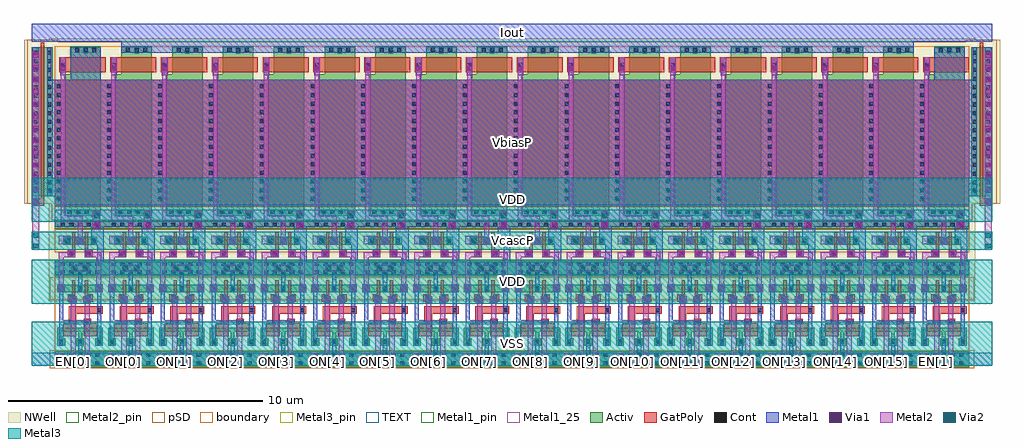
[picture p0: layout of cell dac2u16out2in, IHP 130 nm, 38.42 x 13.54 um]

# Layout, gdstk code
from math import pi, radians
import gdstk
lib = gdstk.Library(unit=1e-6, precision=1e-09)
def R(c, l, rs):  # rectangles x0, y0, x1, y1
    for r in rs: c.add(gdstk.rectangle(r[:2], r[2:], *l))
def A(c, l, x, y, w, h, nx, ny, dx, dy):  # array of equal rectangles
    R(c, l, [(x+i*dx, y+j*dy, x+i*dx+w, y+j*dy+h) for i in range(nx) for j in range(ny)])
Activ = (1, 0)
GatPoly = (5, 0)
Cont = (6, 0)
Metal1 = (8, 0)
Metal1_pin = (8, 2)
Metal1_25 = (8, 25)
Metal2 = (10, 0)
Metal2_pin = (10, 2)
pSD = (14, 0)
Via1 = (19, 0)
Via2 = (29, 0)
Metal3 = (30, 0)
Metal3_pin = (30, 2)
NWell = (31, 0)
TEXT = (63, 0)
boundary = (189, 4)

feol_contacts_3_1 = lib.new_cell('FEOL$contacts$3$1')
A(feol_contacts_3_1, Cont, 0.125, 0, 0.16, 0.16, 17, 1, 0.34, 0)
R(feol_contacts_3_1, Metal1, [(0,0,5.85,0.16)])

feol_contacts_8 = lib.new_cell('FEOL$contacts$8')
R(feol_contacts_8, Cont, [(0.05,0,0.21,0.16)])
R(feol_contacts_8, Metal1, [(0,0,0.26,0.16)])

via_stack_5 = lib.new_cell('via_stack$5')
R(via_stack_5, Metal2, [(-0.145,-0.35,0.145,0.35)])
R(via_stack_5, Via2, [(-0.095,-0.3,0.095,-0.11), (-0.095,0.11,0.095,0.3)])
R(via_stack_5, Metal3, [(-0.145,-0.35,0.145,0.35)])

via_stack_6 = lib.new_cell('via_stack$6')
R(via_stack_6, Metal1, [(-0.145,-3.025,0.145,3.025)])
R(via_stack_6, Metal2, [(-0.145,-3.025,0.145,3.025)])
A(via_stack_6, Via1, -0.095, -2.975, 0.19, 0.19, 1, 13, 0, 0.48)

cascodebias = lib.new_cell('CASCODEBIAS')
R(cascodebias, Activ, [(-1.9,1.76,-1.07,7.61)])
R(cascodebias, GatPoly, [(-1.9,1.38,-1.41,1.68), (-1.56,1.68,-1.41,7.79)])
R(cascodebias, Metal1, [(-1.3,1.76,-0.77,6.33)])
R(cascodebias, pSD, [(-2.08,1.46,-0.89,7.91)])
R(cascodebias, NWell, [(-2.21,1.45,-0.76,7.92)])
cascodebias.add(gdstk.FlexPath([(-1.75,7.61),(-1.75,1.4)], 0.29, ends="flush", simple_path=True, layer=8, datatype=0))  # Metal1
cascodebias.add(gdstk.FlexPath([(-1.75,1.61),(-1.75,1.96)], 0.16, ends="flush", simple_path=True, layer=8, datatype=0))  # Metal1
cascodebias.add(gdstk.FlexPath([(-1.75,1.93),(-1.75,0)], 0.29, ends="flush", simple_path=True, layer=10, datatype=0))  # Metal2
cascodebias.add(gdstk.Reference(feol_contacts_3_1, (-1.67,1.76), rotation=pi/2))
cascodebias.add(gdstk.Reference(feol_contacts_3_1, (-1.14,1.76), rotation=pi/2))
cascodebias.add(gdstk.Reference(feol_contacts_8, (-1.67,1.4), rotation=pi/2))
cascodebias.add(gdstk.Reference(via_stack_5, (-1.75,0)))
cascodebias.add(gdstk.Reference(via_stack_6, (-1.75,4.425)))

feol_contacts_4_1_1 = lib.new_cell('FEOL$contacts$4$1$1')
A(feol_contacts_4_1_1, Cont, 0.175, 0, 0.16, 0.16, 14, 1, 0.34, 0)
R(feol_contacts_4_1_1, Metal1, [(0,0,4.93,0.16)])

feol_contacts_7_1_1 = lib.new_cell('FEOL$contacts$7$1$1')
A(feol_contacts_7_1_1, Cont, 0.135, 0, 0.16, 0.16, 4, 1, 0.34, 0)
R(feol_contacts_7_1_1, Metal1, [(0,0,1.45,0.16)])

feol_contacts_5_1_1 = lib.new_cell('FEOL$contacts$5$1$1')
A(feol_contacts_5_1_1, Cont, 0.2, 0, 0.16, 0.16, 5, 1, 0.34, 0)
R(feol_contacts_5_1_1, Metal1, [(0,0,1.92,0.16)])

feol_contacts_6_1_1 = lib.new_cell('FEOL$contacts$6$1$1')
A(feol_contacts_6_1_1, Cont, 0.16, 0, 0.16, 0.16, 3, 1, 0.34, 0)
R(feol_contacts_6_1_1, Metal1, [(0,0,1.16,0.16)])

feol_contacts_1_2_1 = lib.new_cell('FEOL$contacts$1$2$1')
R(feol_contacts_1_2_1, Cont, [(0.18,0,0.34,0.16)])
R(feol_contacts_1_2_1, Metal1, [(0,0,0.52,0.16)])

pcsource2u = lib.new_cell('PCSOURCE2U')
R(pcsource2u, Activ, [(-1,-6.3,1,-6), (-0.63,-5.79,0.82,-0.22), (-0.38,-0.38,0.82,0.88)])
R(pcsource2u, GatPoly, [(-1,-5.45,1,-0.45), (-0.82,-0.15,1,0.45)])
R(pcsource2u, Metal1, [(-1,-6.23,1,-5.56), (-1,-5.38,1,-0.45), (-0.78,-0.265,-0.56,0.445), (-0.375,0.625,0.815,0.835)])
R(pcsource2u, Metal1_pin, [(-1,-6.23,1,-5.56), (-1,-5.38,1,-0.45)])
R(pcsource2u, Metal1_25, [(-0.375,0.625,0.815,0.835)])
R(pcsource2u, Metal2, [(-0.78,-0.145,-0.56,0.445)])
R(pcsource2u, Metal2_pin, [(-0.775,-0.145,-0.565,0.445)])
R(pcsource2u, pSD, [(-1.12,-5.97,1.12,1.06)])
R(pcsource2u, Via1, [(-0.765,-0.095,-0.575,0.095)])
R(pcsource2u, NWell, [(-1.24,-6.54,1.24,1.19)])
R(pcsource2u, TEXT, [(0.14,0.585,0.3,0.875), (0.125,0.635,0.315,0.825)])
R(pcsource2u, boundary, [(-1,-6.3,1,0.88)])
pcsource2u.add(gdstk.Reference(feol_contacts_4_1_1, (-0.77,-5.38), rotation=pi/2))
pcsource2u.add(gdstk.Reference(feol_contacts_7_1_1, (-0.63,-5.72)))
pcsource2u.add(gdstk.Reference(feol_contacts_5_1_1, (-0.96,-6.23)))
pcsource2u.add(gdstk.Reference(feol_contacts_6_1_1, (-0.36,0.65)))
pcsource2u.add(gdstk.Reference(feol_contacts_1_2_1, (-0.59,-0.11), rotation=pi/2))
pcsource2u.add(gdstk.Label('VbiasP', (0,-2.915), layer=8, texttype=25))
pcsource2u.add(gdstk.Label('VDD', (0,-5.895), layer=8, texttype=25))
pcsource2u.add(gdstk.Label('Iout', (0.22,0.73), layer=8, texttype=25))
pcsource2u.add(gdstk.Label('VcascodeP', (-0.67,0), layer=10, texttype=25))

feol_contacts_9_1 = lib.new_cell('FEOL$contacts$9$1')
R(feol_contacts_9_1, Cont, [(0.05,0,0.21,0.16)])
R(feol_contacts_9_1, Metal1, [(0,0,0.26,0.16)])

via_stack_2_1_1 = lib.new_cell('via_stack$2$1$1')
R(via_stack_2_1_1, Metal1, [(-0.145,-0.145,0.145,0.145)])
R(via_stack_2_1_1, Metal2, [(-0.145,-0.145,0.145,0.145)])
R(via_stack_2_1_1, Via1, [(-0.095,-0.095,0.095,0.095)])

via_stack_3_1 = lib.new_cell('via_stack$3$1')
R(via_stack_3_1, Metal1, [(-0.145,-0.145,0.145,0.145)])
R(via_stack_3_1, Metal2, [(-0.145,-0.145,0.145,0.145)])
R(via_stack_3_1, Via1, [(-0.095,-0.095,0.095,0.095)])
R(via_stack_3_1, Via2, [(-0.095,-0.095,0.095,0.095)])
R(via_stack_3_1, Metal3, [(-0.145,-0.145,0.145,0.145)])

dac_sw = lib.new_cell('DAC_SW')
R(dac_sw, Activ, [(-0.66,-0.15,0.66,0.15)])
R(dac_sw, GatPoly, [(-0.49,-0.65,-0.19,-0.35), (0.19,-0.65,0.49,-0.35), (-0.32,-0.375,-0.19,0.33), (0.19,-0.375,0.32,0.33)])
A(dac_sw, Cont, -0.59, -0.08, 0.16, 0.16, 3, 1, 0.51, 0)
A(dac_sw, Metal1, -0.59, -0.13, 0.16, 0.26, 3, 1, 0.51, 0)
R(dac_sw, Metal1, [(-0.49,-0.65,-0.19,-0.35), (0.19,-0.65,0.49,-0.35), (-0.66,-0.15,-0.36,0.15), (-0.15,-0.15,0.15,0.15)])
R(dac_sw, Metal2, [(-0.845,-0.145,-0.365,0.205)])
R(dac_sw, pSD, [(-1,-0.45,1,0.45)])
R(dac_sw, NWell, [(-1,-0.5,1,0.5)])
R(dac_sw, boundary, [(-1,-0.36,1,0.36)])
dac_sw.add(gdstk.FlexPath([(0.43,0),(0.8,0),(0.8,-0.985)], 0.26, ends="flush", simple_path=True, layer=8, datatype=0))  # Metal1
dac_sw.add(gdstk.FlexPath([(-0.745,-1.95),(-0.745,-0.545),(-0.24,-0.545)], 0.2, ends="flush", simple_path=True, layer=10, datatype=0))  # Metal2
dac_sw.add(gdstk.FlexPath([(0.74,-1.95),(0.74,-0.545),(0.24,-0.545)], 0.2, ends="flush", simple_path=True, layer=10, datatype=0))  # Metal2
dac_sw.add(gdstk.Reference(feol_contacts_9_1, (-0.26,-0.63), rotation=pi/2))
dac_sw.add(gdstk.Reference(feol_contacts_9_1, (0.42,-0.63), rotation=pi/2))
dac_sw.add(gdstk.Reference(via_stack_2_1_1, (-0.34,-0.5)))
dac_sw.add(gdstk.Reference(via_stack_3_1, (-0.51,0)))
dac_sw.add(gdstk.Reference(via_stack_2_1_1, (0.34,-0.5)))
dac_sw.add(gdstk.Reference(via_stack_2_1_1, (0,0)))

feol_contacts_3_2_1 = lib.new_cell('FEOL$contacts$3$2$1')
A(feol_contacts_3_2_1, Cont, 0.2, 0, 0.16, 0.16, 5, 2, 0.34, 0.34)
R(feol_contacts_3_2_1, Metal1, [(0,0,1.92,0.5)])

feol_contacts_1_1_1_1 = lib.new_cell('FEOL$contacts$1$1$1$1')
R(feol_contacts_1_1_1_1, Cont, [(0.05,0,0.21,0.16)])
R(feol_contacts_1_1_1_1, Metal1, [(0,0,0.26,0.16)])

via_stack_1_1_1_1 = lib.new_cell('via_stack$1$1$1$1')
R(via_stack_1_1_1_1, Metal1, [(-0.145,-0.145,0.145,0.145)])
R(via_stack_1_1_1_1, Metal2, [(-0.145,-0.145,0.145,0.145)])
R(via_stack_1_1_1_1, Via1, [(-0.095,-0.095,0.095,0.095)])

nonoverlap = lib.new_cell('NONOVERLAP')
A(nonoverlap, Activ, -0.895, -2.25, 0.3, 0.3, 3, 1, 0.745, 0)
R(nonoverlap, Activ, [(-1,-3.1,1,-2.46), (-0.895,-1.7,0.895,-1.55), (-0.895,-0.15,0.895,0.15), (-1,0.48,1,1.12)])
R(nonoverlap, GatPoly, [(-0.665,-1.88,-0.145,-1.37), (0.145,-1.88,0.665,-1.37), (0.145,-1.48,0.445,-1.18), (0.595,-1,0.895,-0.7), (-0.49,-0.52,-0.19,-0.22), (0.19,-0.52,0.49,-0.22), (-0.32,-0.33,-0.19,0.33), (0.19,-0.33,0.32,0.33)])
R(nonoverlap, Metal1, [(-1,-3.03,1,-2.53), (-1,0.55,1,1.05), (-1,0.55,1,1.05)])
R(nonoverlap, Metal1_pin, [(-1,-3.03,1,-2.53), (-1,0.55,1,1.05)])
R(nonoverlap, Metal2_pin, [(-0.42,-0.6,-0.13,-0.31), (0.13,-0.6,0.42,-0.31), (-0.89,-0.12,-0.6,0.17), (0.6,-0.12,0.89,0.17)])
R(nonoverlap, pSD, [(-1.195,-3.13,1.195,-2.43), (-1.195,-0.45,1.195,0.45)])
R(nonoverlap, NWell, [(-1.24,-0.505,1.24,1.44)])
R(nonoverlap, boundary, [(-1,-3.1,1,1.12)])
nonoverlap.add(gdstk.FlexPath([(0.38,-1.33),(-0.745,-1.33)], 0.16, ends="flush", simple_path=True, layer=8, datatype=0))  # Metal1
nonoverlap.add(gdstk.FlexPath([(-0.745,-2.02),(-0.745,-0.08)], 0.16, ends="flush", simple_path=True, layer=8, datatype=0))  # Metal1
nonoverlap.add(gdstk.FlexPath([(0.745,-2.02),(0.745,-0.08)], 0.16, ends="flush", simple_path=True, layer=8, datatype=0))  # Metal1
nonoverlap.add(gdstk.FlexPath([(0,-2.02),(0,-2.69)], 0.16, ends="flush", simple_path=True, layer=8, datatype=0))  # Metal1
nonoverlap.add(gdstk.FlexPath([(0,0.71),(0,-0.08)], 0.16, ends="flush", simple_path=True, layer=8, datatype=0))  # Metal1
nonoverlap.add(gdstk.FlexPath([(0,-1.63),(0,-2.18)], 0.15, ends="flush", simple_path=True, layer=1, datatype=0))  # Activ
nonoverlap.add(gdstk.FlexPath([(0.82,-1.635),(0.82,-2.18)], 0.15, ends="flush", simple_path=True, layer=1, datatype=0))  # Activ
nonoverlap.add(gdstk.FlexPath([(-0.82,-1.63),(-0.82,-2.18)], 0.15, ends="flush", simple_path=True, layer=1, datatype=0))  # Activ
nonoverlap.add(gdstk.FlexPath([(-0.295,-1.475),(-0.295,-0.85),(0.745,-0.85)], 0.3, ends="flush", simple_path=True, layer=5, datatype=0))  # GatPoly
nonoverlap.add(gdstk.Reference(feol_contacts_3_2_1, (-0.96,0.55)))
nonoverlap.add(gdstk.Reference(feol_contacts_1_1_1_1, (0.825,-0.13), rotation=pi/2))
nonoverlap.add(gdstk.Reference(feol_contacts_1_1_1_1, (0.08,-0.13), rotation=pi/2))
nonoverlap.add(gdstk.Reference(feol_contacts_1_1_1_1, (-0.665,-0.13), rotation=pi/2))
nonoverlap.add(gdstk.Reference(feol_contacts_1_1_1_1, (-0.26,-0.5), rotation=pi/2))
nonoverlap.add(gdstk.Reference(feol_contacts_1_1_1_1, (0.42,-0.5), rotation=pi/2))
nonoverlap.add(gdstk.Reference(feol_contacts_1_1_1_1, (-0.665,-2.23), rotation=pi/2))
nonoverlap.add(gdstk.Reference(feol_contacts_1_1_1_1, (0.165,-1.41)))
nonoverlap.add(gdstk.Reference(feol_contacts_1_1_1_1, (0.825,-2.23), rotation=pi/2))
nonoverlap.add(gdstk.Reference(feol_contacts_1_1_1_1, (0.08,-2.23), rotation=pi/2))
nonoverlap.add(gdstk.Reference(feol_contacts_3_2_1, (-0.96,-3.03)))
nonoverlap.add(gdstk.Reference(via_stack_1_1_1_1, (0.275,-0.455)))
nonoverlap.add(gdstk.Reference(via_stack_1_1_1_1, (-0.275,-0.455)))
nonoverlap.add(gdstk.Reference(via_stack_1_1_1_1, (0.745,0.025)))
nonoverlap.add(gdstk.Reference(via_stack_1_1_1_1, (-0.745,0.025)))
nonoverlap.add(gdstk.Reference(feol_contacts_1_1_1_1, (0.825,-0.98), rotation=pi/2))
nonoverlap.add(gdstk.Label('VSS', (0,-2.78), layer=8, texttype=25))
nonoverlap.add(gdstk.Label('VDD', (0,0.8), layer=8, texttype=25))
nonoverlap.add(gdstk.Label('OUTN', (-0.745,0.025), layer=10, texttype=25))
nonoverlap.add(gdstk.Label('INP', (-0.275,-0.455), layer=10, texttype=25))
nonoverlap.add(gdstk.Label('OUTP', (0.745,0.025), layer=10, texttype=25))
nonoverlap.add(gdstk.Label('INN', (0.275,-0.455), layer=10, texttype=25))

cascodedrive = lib.new_cell('CASCODEDRIVE')
cascodedrive.add(gdstk.Reference(dac_sw, (0,0)))
cascodedrive.add(gdstk.Reference(nonoverlap, (0,-1.88)))

via_stack_7 = lib.new_cell('via_stack$7')
R(via_stack_7, Metal1, [(-0.145,-0.35,0.145,0.35)])
R(via_stack_7, Metal2, [(-0.145,-0.35,0.145,0.35)])
R(via_stack_7, Via1, [(-0.095,-0.3,0.095,-0.11), (-0.095,0.11,0.095,0.3)])

via_stack_4 = lib.new_cell('via_stack$4')
R(via_stack_4, Metal1, [(-0.35,-0.145,0.35,0.145)])
R(via_stack_4, Metal2, [(-0.35,-0.145,0.35,0.145)])
R(via_stack_4, Via1, [(-0.3,-0.095,-0.11,0.095), (0.11,-0.095,0.3,0.095)])
R(via_stack_4, Via2, [(-0.3,-0.095,-0.11,0.095), (0.11,-0.095,0.3,0.095)])
R(via_stack_4, Metal3, [(-0.35,-0.145,0.35,0.145)])

via_stack_6_2 = lib.new_cell('via_stack$6$2')
R(via_stack_6_2, Metal2, [(-0.145,-0.145,0.145,0.145)])
R(via_stack_6_2, Via2, [(-0.095,-0.095,0.095,0.095)])
R(via_stack_6_2, Metal3, [(-0.145,-0.145,0.145,0.145)])

via_stack_9_1 = lib.new_cell('via_stack$9$1')
R(via_stack_9_1, Metal1, [(-0.145,-0.145,0.145,0.145)])
R(via_stack_9_1, Metal2, [(-0.145,-0.145,0.145,0.145)])
R(via_stack_9_1, Via1, [(-0.095,-0.095,0.095,0.095)])
R(via_stack_9_1, Via2, [(-0.095,-0.095,0.095,0.095)])
R(via_stack_9_1, Metal3, [(-0.145,-0.145,0.145,0.145)])

unitsource2u = lib.new_cell('unitsource2u')
R(unitsource2u, Metal1, [(0.43,-0.13,0.93,0.71)])
R(unitsource2u, Metal1_pin, [(-1,0.55,1,1.22), (-1,1.4,1,6.33), (-0.375,7.405,0.815,7.615)])
R(unitsource2u, Metal2, [(-0.92,-4.91,-0.63,-4.41)])
R(unitsource2u, Metal2_pin, [(-0.375,-4.91,-0.175,-4.62), (0.175,-4.91,0.375,-4.62)])
R(unitsource2u, Metal3, [(-1,-4.91,1,-3.18), (-1,-2.48,1,-0.75), (-1,0.75,1,2.48)])
R(unitsource2u, Metal3_pin, [(-1,-4.91,1,-3.18), (-1,-2.48,1,-0.75), (-1,-0.35,1,0.35), (-1,0.75,1,2.48)])
R(unitsource2u, NWell, [(-1.24,-2.385,1.24,7.97)])
unitsource2u.add(gdstk.FlexPath([(-0.275,-4.91),(-0.275,-2.19)], 0.2, ends="flush", simple_path=True, layer=10, datatype=0))  # Metal2
unitsource2u.add(gdstk.FlexPath([(0.275,-4.91),(0.275,-2.19)], 0.2, ends="flush", simple_path=True, layer=10, datatype=0))  # Metal2
unitsource2u.add(gdstk.FlexPath([(-0.67,6.685),(-0.67,0.885),(0,0.885),(0,0.095)], 0.2, ends="flush", simple_path=True, layer=10, datatype=0))  # Metal2
unitsource2u.add(gdstk.FlexPath([(-1,0),(1,0)], 0.7, ends="flush", simple_path=True, layer=30, datatype=0))  # Metal3
unitsource2u.add(gdstk.Reference(pcsource2u, (0,6.78)))
unitsource2u.add(gdstk.Reference(cascodedrive, (0,0)))
unitsource2u.add(gdstk.Reference(via_stack_7, (0.65,0.87)))
unitsource2u.add(gdstk.Reference(via_stack_4, (0,-1.08)))
unitsource2u.add(gdstk.Reference(via_stack_6_2, (0.65,0.985)))
unitsource2u.add(gdstk.Reference(via_stack_9_1, (-0.775,-4.66)))
unitsource2u.add(gdstk.Label('VDD', (0,1.615), layer=30, texttype=0))
unitsource2u.add(gdstk.Label('VbiasP', (0,3.865), layer=8, texttype=25))
unitsource2u.add(gdstk.Label('Iout', (0.22,7.51), layer=8, texttype=25))
unitsource2u.add(gdstk.Label('ON', (-0.275,-4.765), layer=10, texttype=25))
unitsource2u.add(gdstk.Label('ONB', (0.275,-4.765), layer=10, texttype=25))
unitsource2u.add(gdstk.Label('VSS', (0,-4.045), layer=30, texttype=25))
unitsource2u.add(gdstk.Label('VDD', (0,-1.615), layer=30, texttype=25))
unitsource2u.add(gdstk.Label('VcascP', (0,0), layer=30, texttype=25))

dac2u16out2in = lib.new_cell('dac2u16out2in')
R(dac2u16out2in, Metal1, [(-0.375,6.2,0.815,7.615), (33.625,6.2,34.815,7.615), (1.625,7.405,32.815,8.535)])
R(dac2u16out2in, Metal1_pin, [(-1,1.4,35,6.33), (-1.9,7.835,35.9,8.535)])
R(dac2u16out2in, Metal2_pin, [(-0.375,-4.91,-0.175,-4.62), (-0.375,-4.91,-0.175,-4.62), (0.175,-4.91,0.375,-4.62), (0.175,-4.91,0.375,-4.62), (1.625,-4.91,1.825,-4.62), (1.625,-4.91,1.825,-4.62), (2.175,-4.91,2.375,-4.62), (2.175,-4.91,2.375,-4.62), (3.625,-4.91,3.825,-4.62), (3.625,-4.91,3.825,-4.62), (4.175,-4.91,4.375,-4.62), (4.175,-4.91,4.375,-4.62), (5.625,-4.91,5.825,-4.62), (5.625,-4.91,5.825,-4.62), (6.175,-4.91,6.375,-4.62), (6.175,-4.91,6.375,-4.62), (7.625,-4.91,7.825,-4.62), (7.625,-4.91,7.825,-4.62), (8.175,-4.91,8.375,-4.62), (8.175,-4.91,8.375,-4.62), (9.625,-4.91,9.825,-4.62), (9.625,-4.91,9.825,-4.62), (10.175,-4.91,10.375,-4.62), (10.175,-4.91,10.375,-4.62), (11.625,-4.91,11.825,-4.62), (11.625,-4.91,11.825,-4.62), (12.175,-4.91,12.375,-4.62), (12.175,-4.91,12.375,-4.62), (13.625,-4.91,13.825,-4.62), (13.625,-4.91,13.825,-4.62), (14.175,-4.91,14.375,-4.62), (14.175,-4.91,14.375,-4.62), (15.625,-4.91,15.825,-4.62), (15.625,-4.91,15.825,-4.62), (16.175,-4.91,16.375,-4.62), (16.175,-4.91,16.375,-4.62), (17.625,-4.91,17.825,-4.62), (17.625,-4.91,17.825,-4.62), (18.175,-4.91,18.375,-4.62), (18.175,-4.91,18.375,-4.62), (19.625,-4.91,19.825,-4.62), (19.625,-4.91,19.825,-4.62), (20.175,-4.91,20.375,-4.62), (20.175,-4.91,20.375,-4.62), (21.625,-4.91,21.825,-4.62), (21.625,-4.91,21.825,-4.62), (22.175,-4.91,22.375,-4.62), (22.175,-4.91,22.375,-4.62), (23.625,-4.91,23.825,-4.62), (23.625,-4.91,23.825,-4.62), (24.175,-4.91,24.375,-4.62), (24.175,-4.91,24.375,-4.62), (25.625,-4.91,25.825,-4.62), (25.625,-4.91,25.825,-4.62), (26.175,-4.91,26.375,-4.62), (26.175,-4.91,26.375,-4.62), (27.625,-4.91,27.825,-4.62), (27.625,-4.91,27.825,-4.62), (28.175,-4.91,28.375,-4.62), (28.175,-4.91,28.375,-4.62), (29.625,-4.91,29.825,-4.62), (29.625,-4.91,29.825,-4.62), (30.175,-4.91,30.375,-4.62), (30.175,-4.91,30.375,-4.62), (31.625,-4.91,31.825,-4.62), (31.625,-4.91,31.825,-4.62), (32.175,-4.91,32.375,-4.62), (32.175,-4.91,32.375,-4.62), (33.625,-4.91,33.825,-4.62), (33.625,-4.91,33.825,-4.62), (34.175,-4.91,34.375,-4.62), (34.175,-4.91,34.375,-4.62)])
R(dac2u16out2in, Metal3_pin, [(-1.9,-4.91,35.9,-3.18), (-1.9,-2.48,35.9,-0.75), (-1.9,-0.35,35.9,0.35), (-1.9,0.75,35.9,2.48)])
dac2u16out2in.add(gdstk.FlexPath([(-1.9,8.185),(35.9,8.185)], 0.7, ends="flush", simple_path=True, layer=8, datatype=0))  # Metal1
dac2u16out2in.add(gdstk.FlexPath([(-1.9,-4.66),(35.9,-4.66)], 0.5, ends="flush", simple_path=True, layer=8, datatype=0))  # Metal1
dac2u16out2in.add(gdstk.FlexPath([(-1.9,1.615),(35.9,1.615)], 1.73, ends="flush", simple_path=True, layer=30, datatype=0))  # Metal3
dac2u16out2in.add(gdstk.FlexPath([(-1.9,0),(35.9,0)], 0.7, ends="flush", simple_path=True, layer=30, datatype=0))  # Metal3
dac2u16out2in.add(gdstk.FlexPath([(-1.9,-1.615),(35.9,-1.615)], 1.73, ends="flush", simple_path=True, layer=30, datatype=0))  # Metal3
dac2u16out2in.add(gdstk.FlexPath([(-1.9,-4.045),(35.9,-4.045)], 1.73, ends="flush", simple_path=True, layer=30, datatype=0))  # Metal3
dac2u16out2in.add(gdstk.Reference(cascodebias, (0,0)))
r = gdstk.Reference(unitsource2u, (0,0)); r.repetition = gdstk.Repetition(18, 1, v1=(2,0), v2=(0,0)); dac2u16out2in.add(r)
dac2u16out2in.add(gdstk.Reference(cascodebias, (34,0), rotation=pi, x_reflection=True))
dac2u16out2in.add(gdstk.Label('VbiasP', (17,3.865), layer=8, texttype=25))
dac2u16out2in.add(gdstk.Label('Iout', (17,8.185), layer=8, texttype=25))
dac2u16out2in.add(gdstk.Label('EN[1]', (33.725,-4.765), layer=10, texttype=25))
dac2u16out2in.add(gdstk.Label('ENB[1]', (34.275,-4.765), layer=10, texttype=25))
dac2u16out2in.add(gdstk.Label('ON[0]', (1.725,-4.765), layer=10, texttype=25))
dac2u16out2in.add(gdstk.Label('ONB[0]', (2.275,-4.765), layer=10, texttype=25))
dac2u16out2in.add(gdstk.Label('ON[1]', (3.725,-4.765), layer=10, texttype=25))
dac2u16out2in.add(gdstk.Label('ONB[1]', (4.275,-4.765), layer=10, texttype=25))
dac2u16out2in.add(gdstk.Label('ON[2]', (5.725,-4.765), layer=10, texttype=25))
dac2u16out2in.add(gdstk.Label('ONB[2]', (6.275,-4.765), layer=10, texttype=25))
dac2u16out2in.add(gdstk.Label('ON[3]', (7.725,-4.765), layer=10, texttype=25))
dac2u16out2in.add(gdstk.Label('ONB[3]', (8.275,-4.765), layer=10, texttype=25))
dac2u16out2in.add(gdstk.Label('ON[4]', (9.725,-4.765), layer=10, texttype=25))
dac2u16out2in.add(gdstk.Label('ONB[4]', (10.275,-4.765), layer=10, texttype=25))
dac2u16out2in.add(gdstk.Label('EN[0]', (-0.275,-4.765), layer=10, texttype=25))
dac2u16out2in.add(gdstk.Label('ENB[0]', (0.275,-4.765), layer=10, texttype=25))
dac2u16out2in.add(gdstk.Label('ON', (-0.275,-4.765), layer=10, texttype=25))
dac2u16out2in.add(gdstk.Label('ONB', (0.275,-4.765), layer=10, texttype=25))
dac2u16out2in.add(gdstk.Label('ON', (1.725,-4.765), layer=10, texttype=25))
dac2u16out2in.add(gdstk.Label('ONB', (2.275,-4.765), layer=10, texttype=25))
dac2u16out2in.add(gdstk.Label('ON', (3.725,-4.765), layer=10, texttype=25))
dac2u16out2in.add(gdstk.Label('ONB', (4.275,-4.765), layer=10, texttype=25))
dac2u16out2in.add(gdstk.Label('ON', (5.725,-4.765), layer=10, texttype=25))
dac2u16out2in.add(gdstk.Label('ONB', (6.275,-4.765), layer=10, texttype=25))
dac2u16out2in.add(gdstk.Label('ON', (7.725,-4.765), layer=10, texttype=25))
dac2u16out2in.add(gdstk.Label('ONB', (8.275,-4.765), layer=10, texttype=25))
dac2u16out2in.add(gdstk.Label('ON', (9.725,-4.765), layer=10, texttype=25))
dac2u16out2in.add(gdstk.Label('ONB', (10.275,-4.765), layer=10, texttype=25))
dac2u16out2in.add(gdstk.Label('ON[5]', (11.725,-4.765), layer=10, texttype=25))
dac2u16out2in.add(gdstk.Label('ONB[5]', (12.275,-4.765), layer=10, texttype=25))
dac2u16out2in.add(gdstk.Label('ON[6]', (13.725,-4.765), layer=10, texttype=25))
dac2u16out2in.add(gdstk.Label('ONB[6]', (14.275,-4.765), layer=10, texttype=25))
dac2u16out2in.add(gdstk.Label('ON[7]', (15.725,-4.765), layer=10, texttype=25))
dac2u16out2in.add(gdstk.Label('ONB[7]', (16.275,-4.765), layer=10, texttype=25))
dac2u16out2in.add(gdstk.Label('ON[8]', (17.725,-4.765), layer=10, texttype=25))
dac2u16out2in.add(gdstk.Label('ONB[8]', (18.275,-4.765), layer=10, texttype=25))
dac2u16out2in.add(gdstk.Label('ON[9]', (19.725,-4.765), layer=10, texttype=25))
dac2u16out2in.add(gdstk.Label('ONB[9]', (20.275,-4.765), layer=10, texttype=25))
dac2u16out2in.add(gdstk.Label('ON[10]', (21.725,-4.765), layer=10, texttype=25))
dac2u16out2in.add(gdstk.Label('ONB[10]', (22.275,-4.765), layer=10, texttype=25))
dac2u16out2in.add(gdstk.Label('ON', (11.725,-4.765), layer=10, texttype=25))
dac2u16out2in.add(gdstk.Label('ONB', (12.275,-4.765), layer=10, texttype=25))
dac2u16out2in.add(gdstk.Label('ON', (13.725,-4.765), layer=10, texttype=25))
dac2u16out2in.add(gdstk.Label('ONB', (14.275,-4.765), layer=10, texttype=25))
dac2u16out2in.add(gdstk.Label('ON', (15.725,-4.765), layer=10, texttype=25))
dac2u16out2in.add(gdstk.Label('ONB', (16.275,-4.765), layer=10, texttype=25))
dac2u16out2in.add(gdstk.Label('ON', (17.725,-4.765), layer=10, texttype=25))
dac2u16out2in.add(gdstk.Label('ONB', (18.275,-4.765), layer=10, texttype=25))
dac2u16out2in.add(gdstk.Label('ON', (19.725,-4.765), layer=10, texttype=25))
dac2u16out2in.add(gdstk.Label('ONB', (20.275,-4.765), layer=10, texttype=25))
dac2u16out2in.add(gdstk.Label('ON', (21.725,-4.765), layer=10, texttype=25))
dac2u16out2in.add(gdstk.Label('ONB', (22.275,-4.765), layer=10, texttype=25))
dac2u16out2in.add(gdstk.Label('ON[11]', (23.725,-4.765), layer=10, texttype=25))
dac2u16out2in.add(gdstk.Label('ONB[11]', (24.275,-4.765), layer=10, texttype=25))
dac2u16out2in.add(gdstk.Label('ON[12]', (25.725,-4.765), layer=10, texttype=25))
dac2u16out2in.add(gdstk.Label('ONB[12]', (26.275,-4.765), layer=10, texttype=25))
dac2u16out2in.add(gdstk.Label('ON[13]', (27.725,-4.765), layer=10, texttype=25))
dac2u16out2in.add(gdstk.Label('ONB[13]', (28.275,-4.765), layer=10, texttype=25))
dac2u16out2in.add(gdstk.Label('ON[14]', (29.725,-4.765), layer=10, texttype=25))
dac2u16out2in.add(gdstk.Label('ONB[14]', (30.275,-4.765), layer=10, texttype=25))
dac2u16out2in.add(gdstk.Label('ON[15]', (31.725,-4.765), layer=10, texttype=25))
dac2u16out2in.add(gdstk.Label('ONB[15]', (32.275,-4.765), layer=10, texttype=25))
dac2u16out2in.add(gdstk.Label('ON', (23.725,-4.765), layer=10, texttype=25))
dac2u16out2in.add(gdstk.Label('ONB', (24.275,-4.765), layer=10, texttype=25))
dac2u16out2in.add(gdstk.Label('ON', (25.725,-4.765), layer=10, texttype=25))
dac2u16out2in.add(gdstk.Label('ONB', (26.275,-4.765), layer=10, texttype=25))
dac2u16out2in.add(gdstk.Label('ON', (27.725,-4.765), layer=10, texttype=25))
dac2u16out2in.add(gdstk.Label('ONB', (28.275,-4.765), layer=10, texttype=25))
dac2u16out2in.add(gdstk.Label('ON', (29.725,-4.765), layer=10, texttype=25))
dac2u16out2in.add(gdstk.Label('ONB', (30.275,-4.765), layer=10, texttype=25))
dac2u16out2in.add(gdstk.Label('ON', (31.725,-4.765), layer=10, texttype=25))
dac2u16out2in.add(gdstk.Label('ONB', (32.275,-4.765), layer=10, texttype=25))
dac2u16out2in.add(gdstk.Label('ON', (33.725,-4.765), layer=10, texttype=25))
dac2u16out2in.add(gdstk.Label('ONB', (34.275,-4.765), layer=10, texttype=25))
dac2u16out2in.add(gdstk.Label('VDD', (17,1.615), layer=30, texttype=25))
dac2u16out2in.add(gdstk.Label('VcascP', (17,0), layer=30, texttype=25))
dac2u16out2in.add(gdstk.Label('VDD', (17,-1.615), layer=30, texttype=25))
dac2u16out2in.add(gdstk.Label('VSS', (17,-4.045), layer=30, texttype=25))

lib.write_gds('dac2u16out2in.gds')
